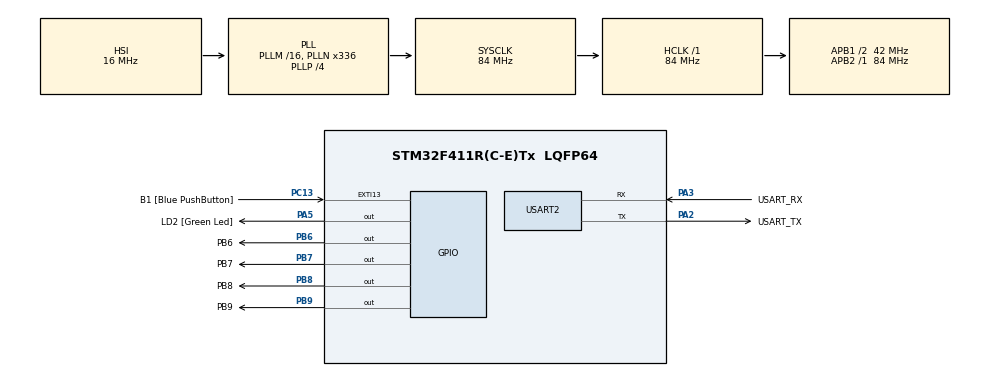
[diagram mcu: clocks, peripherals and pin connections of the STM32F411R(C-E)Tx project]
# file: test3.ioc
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Dma.Request0=USART2_TX
Dma.Request1=USART2_RX
Dma.USART2_RX.1.Direction=DMA_PERIPH_TO_MEMORY
Dma.USART2_RX.1.FIFOMode=DMA_FIFOMODE_DISABLE
Dma.USART2_RX.1.Instance=DMA1_Stream5
Dma.USART2_RX.1.MemDataAlignment=DMA_MDATAALIGN_BYTE
Dma.USART2_RX.1.MemInc=DMA_MINC_ENABLE
Dma.USART2_RX.1.Mode=DMA_NORMAL
Dma.USART2_RX.1.PeriphDataAlignment=DMA_PDATAALIGN_BYTE
Dma.USART2_RX.1.PeriphInc=DMA_PINC_DISABLE
Dma.USART2_RX.1.Priority=DMA_PRIORITY_LOW
Dma.USART2_TX.0.Direction=DMA_MEMORY_TO_PERIPH
Dma.USART2_TX.0.FIFOMode=DMA_FIFOMODE_DISABLE
Dma.USART2_TX.0.Instance=DMA1_Stream6
Dma.USART2_TX.0.MemDataAlignment=DMA_MDATAALIGN_BYTE
Dma.USART2_TX.0.MemInc=DMA_MINC_ENABLE
Dma.USART2_TX.0.Mode=DMA_NORMAL
Dma.USART2_TX.0.PeriphDataAlignment=DMA_PDATAALIGN_BYTE
Dma.USART2_TX.0.PeriphInc=DMA_PINC_DISABLE
Dma.USART2_TX.0.Priority=DMA_PRIORITY_LOW
Mcu.Family=STM32F4
Mcu.Name=STM32F411R(C-E)Tx
Mcu.Package=LQFP64
NVIC.DMA1_Stream5_IRQn=true\:0\:0\:false\:false\:true\:false\:true\:true
NVIC.DMA1_Stream6_IRQn=true\:0\:0\:false\:false\:true\:false\:true\:true
NVIC.PriorityGroup=NVIC_PRIORITYGROUP_0
NVIC.TIM1_TRG_COM_TIM11_IRQn=true\:0\:0\:false\:false\:true\:true\:true\:true
NVIC.USART2_IRQn=true\:0\:0\:false\:false\:true\:true\:true\:true
PA13.GPIO_Label=TMS
PA13.Mode=Serial_Wire
PA13.Signal=SYS_JTMS-SWDIO
PA14.GPIO_Label=TCK
PA14.Mode=Serial_Wire
PA14.Signal=SYS_JTCK-SWCLK
PA2.GPIO_Label=USART_TX
PA2.Mode=Asynchronous
PA2.Signal=USART2_TX
PA3.GPIO_Label=USART_RX
PA3.Mode=Asynchronous
PA3.Signal=USART2_RX
PA5.GPIO_Label=LD2 [Green Led]
PA5.Signal=GPIO_Output
PB3.GPIO_Label=SWO
PB3.Signal=SYS_JTDO-SWO
PB6.GPIO_Label=PB6
PB6.Signal=GPIO_Output
PB7.GPIO_Label=PB7
PB7.Signal=GPIO_Output
PB8.GPIO_Label=PB8
PB8.Signal=GPIO_Output
PB9.GPIO_Label=PB9
PB9.Signal=GPIO_Output
PC13-ANTI_TAMP.GPIO_Label=B1 [Blue PushButton]
PC13-ANTI_TAMP.GPIO_ModeDefaultEXTI=GPIO_MODE_IT_FALLING
PC13-ANTI_TAMP.Signal=GPXTI13
PC14-OSC32_IN.Mode=LSE-External-Oscillator
PC14-OSC32_IN.Signal=RCC_OSC32_IN
PC15-OSC32_OUT.Mode=LSE-External-Oscillator
PC15-OSC32_OUT.Signal=RCC_OSC32_OUT
PH0\ -\ OSC_IN.Mode=HSE-External-Clock-Source
PH0\ -\ OSC_IN.Signal=RCC_OSC_IN
PH1\ -\ OSC_OUT.Mode=HSE-External-Clock-Source
PH1\ -\ OSC_OUT.Signal=RCC_OSC_OUT
ProjectManager.HeapSize=0x200
ProjectManager.StackSize=0x400
ProjectManager.TargetToolchain=STM32CubeIDE
RCC.48MHZClocksFreq_Value=84000000
RCC.AHBFreq_Value=84000000
RCC.APB1CLKDivider=RCC_HCLK_DIV2
RCC.APB1Freq_Value=42000000
RCC.APB1TimFreq_Value=84000000
RCC.APB2Freq_Value=84000000
RCC.APB2TimFreq_Value=84000000
RCC.CortexFreq_Value=84000000
RCC.FLatency-AdvancedSettings=FLASH_LATENCY_2
RCC.HCLKFreq_Value=84000000
RCC.HSE_VALUE=8000000
RCC.HSI_VALUE=16000000
RCC.PLLN=336
RCC.PLLP=RCC_PLLP_DIV4
RCC.SYSCLKFreq_VALUE=84000000
RCC.SYSCLKSource=RCC_SYSCLKSOURCE_PLLCLK
RCC.VCOOutputFreq_Value=336000000
TIM11.Period=1999
TIM11.Prescaler=6999
USART2.VirtualMode=VM_ASYNC
VP_TIM11_VS_ClockSourceINT.Mode=Enable_Timer
board=NUCLEO-F411RE

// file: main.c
/* USER CODE BEGIN Header */
/**
  ******************************************************************************
  * @file           : main.c
  * @brief          : Main program body
  ******************************************************************************
  * @attention
  *
  * Copyright (c) 2023 STMicroelectronics.
  * All rights reserved.
  *
  * This software is licensed under terms that can be found in the LICENSE file
  * in the root directory of this software component.
  * If no LICENSE file comes with this software, it is provided AS-IS.
  *
  ******************************************************************************
  */
/* USER CODE END Header */
#include "main.h"

TIM_HandleTypeDef htim11;

UART_HandleTypeDef huart2;
DMA_HandleTypeDef hdma_usart2_tx;
DMA_HandleTypeDef hdma_usart2_rx;

/* USER CODE BEGIN PV */
GPIO_InitTypeDef GPIO_InitStruct = {0};
// Serial variables
volatile uint8_t buf_rx[100];
volatile uint8_t buf_tx[100];
volatile uint16_t tx_cnt;
/* USER CODE END PV */

void SystemClock_Config(void);
static void MX_GPIO_Init(void);
static void MX_DMA_Init(void);
static void MX_USART2_UART_Init(void);
static void MX_TIM11_Init(void);
/* USER CODE BEGIN PFP */
void HAL_TIM_PeriodElapsedCallback(TIM_HandleTypeDef *htim) {
	if (htim->Instance == TIM11) {
		// zielona 2
		// Ustawieie wysokiej impedancji dla pinu 6 i 8
		GPIO_InitStruct.Pin = PB6_Pin|PB8_Pin;
		GPIO_InitStruct.Mode = GPIO_MODE_INPUT;
		GPIO_InitStruct.Pull = GPIO_NOPULL;
		HAL_GPIO_Init(GPIOB, &GPIO_InitStruct);

		HAL_GPIO_TogglePin(PB7_GPIO_Port, PB7_Pin);
		HAL_GPIO_WritePin(PB9_GPIO_Port, PB9_Pin, GPIO_PIN_RESET);
	}
}

void HAL_UART_TxCpltCallback(UART_HandleTypeDef *huart) {
	if (huart->Instance == USART2) {
	}
}

void HAL_UART_RxCpltCallback(UART_HandleTypeDef *huart) {
	if (huart->Instance == USART2) {
		uint8_t temp[2] = {0};
		for (uint8_t i = 0; i < 2; i++) {
			if (buf_rx[i] >= 48 && buf_rx[i] <= 57) {
				temp[i] = buf_rx[i];
			}
			else {
				temp[i] = ' ';
			}

		}
		tx_cnt = snprintf(buf_tx, sizeof(buf_tx), "%s\n", temp);
		HAL_UART_Transmit_DMA(huart, buf_tx, tx_cnt);
		HAL_UART_Receive_DMA(huart, buf_rx, 2);
	}
}
/* USER CODE END PFP */

int main(void)
{

  /* MCU Configuration--------------------------------------------------------*/

  /* Reset of all peripherals, Initializes the Flash interface and the Systick. */
  HAL_Init();

  /* Configure the system clock */
  SystemClock_Config();

  /* Initialize all configured peripherals */
  MX_GPIO_Init();
  MX_DMA_Init();
  MX_USART2_UART_Init();
  MX_TIM11_Init();
  /* USER CODE BEGIN 2 */
  HAL_TIM_Base_Start_IT(&htim11);
  HAL_UART_Receive_DMA(&huart2, buf_rx, 2);
  /* USER CODE END 2 */

  /* Infinite loop */
  while (1)
  {

  }
}

void SystemClock_Config(void)
{
  RCC_OscInitTypeDef RCC_OscInitStruct = {0};
  RCC_ClkInitTypeDef RCC_ClkInitStruct = {0};

  /** Configure the main internal regulator output voltage
  */
  __HAL_RCC_PWR_CLK_ENABLE();
  __HAL_PWR_VOLTAGESCALING_CONFIG(PWR_REGULATOR_VOLTAGE_SCALE1);

  /** Initializes the RCC Oscillators according to the specified parameters
  * in the RCC_OscInitTypeDef structure.
  */
  RCC_OscInitStruct.OscillatorType = RCC_OSCILLATORTYPE_HSI;
  RCC_OscInitStruct.HSIState = RCC_HSI_ON;
  RCC_OscInitStruct.HSICalibrationValue = RCC_HSICALIBRATION_DEFAULT;
  RCC_OscInitStruct.PLL.PLLState = RCC_PLL_ON;
  RCC_OscInitStruct.PLL.PLLSource = RCC_PLLSOURCE_HSI;
  RCC_OscInitStruct.PLL.PLLM = 16;
  RCC_OscInitStruct.PLL.PLLN = 336;
  RCC_OscInitStruct.PLL.PLLP = RCC_PLLP_DIV4;
  RCC_OscInitStruct.PLL.PLLQ = 4;
  if (HAL_RCC_OscConfig(&RCC_OscInitStruct) != HAL_OK)
  {
    Error_Handler();
  }

  /** Initializes the CPU, AHB and APB buses clocks
  */
  RCC_ClkInitStruct.ClockType = RCC_CLOCKTYPE_HCLK|RCC_CLOCKTYPE_SYSCLK
                              |RCC_CLOCKTYPE_PCLK1|RCC_CLOCKTYPE_PCLK2;
  RCC_ClkInitStruct.SYSCLKSource = RCC_SYSCLKSOURCE_PLLCLK;
  RCC_ClkInitStruct.AHBCLKDivider = RCC_SYSCLK_DIV1;
  RCC_ClkInitStruct.APB1CLKDivider = RCC_HCLK_DIV2;
  RCC_ClkInitStruct.APB2CLKDivider = RCC_HCLK_DIV1;

  if (HAL_RCC_ClockConfig(&RCC_ClkInitStruct, FLASH_LATENCY_2) != HAL_OK)
  {
    Error_Handler();
  }
}

static void MX_TIM11_Init(void)
{

  htim11.Instance = TIM11;
  htim11.Init.Prescaler = 6999;
  htim11.Init.CounterMode = TIM_COUNTERMODE_UP;
  htim11.Init.Period = 1999;
  htim11.Init.ClockDivision = TIM_CLOCKDIVISION_DIV1;
  htim11.Init.AutoReloadPreload = TIM_AUTORELOAD_PRELOAD_DISABLE;
  if (HAL_TIM_Base_Init(&htim11) != HAL_OK)
  {
    Error_Handler();
  }

}

static void MX_USART2_UART_Init(void)
{

  huart2.Instance = USART2;
  huart2.Init.BaudRate = 115200;
  huart2.Init.WordLength = UART_WORDLENGTH_8B;
  huart2.Init.StopBits = UART_STOPBITS_1;
  huart2.Init.Parity = UART_PARITY_NONE;
  huart2.Init.Mode = UART_MODE_TX_RX;
  huart2.Init.HwFlowCtl = UART_HWCONTROL_NONE;
  huart2.Init.OverSampling = UART_OVERSAMPLING_16;
  if (HAL_UART_Init(&huart2) != HAL_OK)
  {
    Error_Handler();
  }

}

static void MX_DMA_Init(void)
{

  /* DMA controller clock enable */
  __HAL_RCC_DMA1_CLK_ENABLE();

  /* DMA interrupt init */
  /* DMA1_Stream5_IRQn interrupt configuration */
  HAL_NVIC_SetPriority(DMA1_Stream5_IRQn, 0, 0);
  HAL_NVIC_EnableIRQ(DMA1_Stream5_IRQn);
  /* DMA1_Stream6_IRQn interrupt configuration */
  HAL_NVIC_SetPriority(DMA1_Stream6_IRQn, 0, 0);
  HAL_NVIC_EnableIRQ(DMA1_Stream6_IRQn);

}

static void MX_GPIO_Init(void)
{
  GPIO_InitTypeDef GPIO_InitStruct = {0};

  /* GPIO Ports Clock Enable */
  __HAL_RCC_GPIOC_CLK_ENABLE();
  __HAL_RCC_GPIOH_CLK_ENABLE();
  __HAL_RCC_GPIOA_CLK_ENABLE();
  __HAL_RCC_GPIOB_CLK_ENABLE();

  /*Configure GPIO pin Output Level */
  HAL_GPIO_WritePin(LD2_GPIO_Port, LD2_Pin, GPIO_PIN_RESET);

  /*Configure GPIO pin Output Level */
  HAL_GPIO_WritePin(GPIOB, PB6_Pin|PB7_Pin|PB8_Pin|PB9_Pin, GPIO_PIN_RESET);

  /*Configure GPIO pin : B1_Pin */
  GPIO_InitStruct.Pin = B1_Pin;
  GPIO_InitStruct.Mode = GPIO_MODE_IT_FALLING;
  GPIO_InitStruct.Pull = GPIO_NOPULL;
  HAL_GPIO_Init(B1_GPIO_Port, &GPIO_InitStruct);

  /*Configure GPIO pin : LD2_Pin */
  GPIO_InitStruct.Pin = LD2_Pin;
  GPIO_InitStruct.Mode = GPIO_MODE_OUTPUT_PP;
  GPIO_InitStruct.Pull = GPIO_NOPULL;
  GPIO_InitStruct.Speed = GPIO_SPEED_FREQ_LOW;
  HAL_GPIO_Init(LD2_GPIO_Port, &GPIO_InitStruct);

  /*Configure GPIO pins : PB6_Pin PB7_Pin PB8_Pin PB9_Pin */
  GPIO_InitStruct.Pin = PB6_Pin|PB7_Pin|PB8_Pin|PB9_Pin;
  GPIO_InitStruct.Mode = GPIO_MODE_OUTPUT_PP;
  GPIO_InitStruct.Pull = GPIO_NOPULL;
  GPIO_InitStruct.Speed = GPIO_SPEED_FREQ_LOW;
  HAL_GPIO_Init(GPIOB, &GPIO_InitStruct);

}

void Error_Handler(void)
{
  __disable_irq();
  while (1)
  {
  }
}
